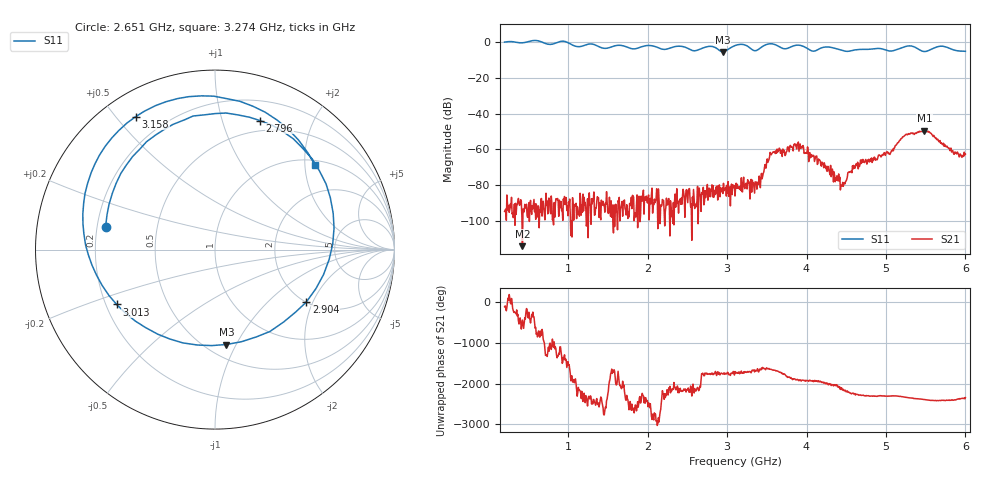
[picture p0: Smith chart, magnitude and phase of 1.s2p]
! NanoVNA-App
! Date: 2024-06-25 16:10:34
! Start: 200MHz Stop: 6GHz Points: 801
! S-Parameter data: F S11 S21 S12 S22
# Hz S RI R 50
!  Frequency  S11_Real  S11_Imag  S21_Real  S21_Imag  S12_Real  S12_Imag  S22_Real  S22_Imag
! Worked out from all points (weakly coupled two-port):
!   801 points, 200 MHz to 6 GHz, reference 50 ohm
!   highest |S21| = -49.60 dB at 5.485 GHz (marker M1); lowest = -114.3 dB at 424.8 MHz (marker M2)
!   lowest |S11| = -5.5 dB at 2.948 GHz (marker M3), VSWR 3.28, Z = 31 - j45.7 ohm
!   |S11| at or under -10 dB: nowhere
!   S12 and S22 are empty: the file has one direction only
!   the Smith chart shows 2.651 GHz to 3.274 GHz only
!   S11 on the Smith chart (normalised r, x): 2.651 GHz: 0.23, +0.10; 2.796 GHz: 0.39, +1.33; 2.904 GHz: 2.00, -1.79; 3.013 GHz: 0.24, -0.25; 3.158 GHz: 0.10, +0.56; 3.274 GHz: 1.13, +2.26
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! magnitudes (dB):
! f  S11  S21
! 200 MHz  0.0  -94.8
! 424.8 MHz  -0.4  -114.3
! 1.171 GHz  -2.3  -91.1
! 2.136 GHz  -3.1  -82.2
! 2.651 GHz  -4.1  -81.7
! 2.796 GHz  -2.4  -82.3
! 2.904 GHz  -4.6  -80.0
! 2.948 GHz  -5.5  -84.8
! 3.013 GHz  -4.0  -78.1
! 3.1 GHz  -1.9  -86.2
! 3.158 GHz  -1.3  -82.5
! 3.274 GHz  -2.7  -78.2
! 3.397 GHz  -4.0  -79.0
! 3.571 GHz  -1.0  -61.9
! 3.869 GHz  -1.7  -57.7
! 4.072 GHz  -5.0  -63.3
! 4.456 GHz  -4.7  -78.5
! 4.615 GHz  -4.3  -69.8
! 5.036 GHz  -4.9  -62.1
! 5.239 GHz  -2.5  -52.2
! 5.485 GHz  -5.3  -49.6
! 6 GHz  -5.1  -62.7
